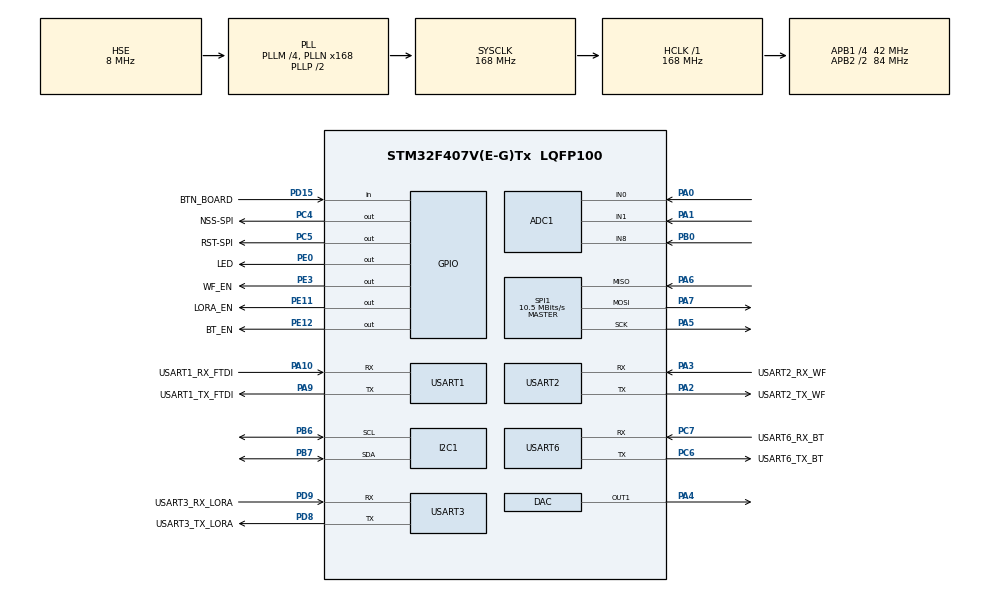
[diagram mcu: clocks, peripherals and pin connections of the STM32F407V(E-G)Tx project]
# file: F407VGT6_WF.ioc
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ADC1.Channel-0\#ChannelRegularConversion=ADC_CHANNEL_0
ADC1.NbrOfConversionFlag=1
ADC1.Rank-0\#ChannelRegularConversion=1
ADC1.SamplingTime-0\#ChannelRegularConversion=ADC_SAMPLETIME_3CYCLES
ADC1.master=1
Mcu.Family=STM32F4
Mcu.Name=STM32F407V(E-G)Tx
Mcu.Package=LQFP100
NVIC.PriorityGroup=NVIC_PRIORITYGROUP_4
NVIC.TIM2_IRQn=true\:0\:0\:false\:false\:true\:true\:true\:true
NVIC.USART1_IRQn=true\:0\:0\:false\:false\:true\:true\:true\:true
NVIC.USART2_IRQn=true\:0\:0\:false\:false\:true\:true\:true\:true
PA0-WKUP.Signal=ADCx_IN0
PA1.Signal=ADCx_IN1
PA10.GPIO_Label=USART1_RX_FTDI
PA10.Mode=Asynchronous
PA10.Signal=USART1_RX
PA13.Mode=Trace_Asynchronous_SW
PA13.Signal=SYS_JTMS-SWDIO
PA14.Mode=Trace_Asynchronous_SW
PA14.Signal=SYS_JTCK-SWCLK
PA2.GPIO_Label=USART2_TX_WF
PA2.Mode=Asynchronous
PA2.Signal=USART2_TX
PA3.GPIO_Label=USART2_RX_WF
PA3.Mode=Asynchronous
PA3.Signal=USART2_RX
PA4.Signal=COMP_DAC1_group
PA5.Mode=Full_Duplex_Master
PA5.Signal=SPI1_SCK
PA6.Mode=Full_Duplex_Master
PA6.Signal=SPI1_MISO
PA7.Mode=Full_Duplex_Master
PA7.Signal=SPI1_MOSI
PA9.GPIO_Label=USART1_TX_FTDI
PA9.Mode=Asynchronous
PA9.Signal=USART1_TX
PB0.Signal=ADCx_IN8
PB3.Mode=Trace_Asynchronous_SW
PB3.Signal=SYS_JTDO-SWO
PB6.Mode=I2C
PB6.Signal=I2C1_SCL
PB7.Mode=I2C
PB7.Signal=I2C1_SDA
PC4.GPIO_Label=NSS-SPI
PC4.Signal=GPIO_Output
PC5.GPIO_Label=RST-SPI
PC5.Signal=GPIO_Output
PC6.GPIO_Label=USART6_TX_BT
PC6.Mode=Asynchronous
PC6.Signal=USART6_TX
PC7.GPIO_Label=USART6_RX_BT
PC7.Mode=Asynchronous
PC7.Signal=USART6_RX
PD15.GPIO_Label=BTN_BOARD
PD15.Signal=GPIO_Input
PD8.GPIO_Label=USART3_TX_LORA
PD8.Mode=Asynchronous
PD8.Signal=USART3_TX
PD9.GPIO_Label=USART3_RX_LORA
PD9.Mode=Asynchronous
PD9.Signal=USART3_RX
PE0.GPIO_Label=LED
PE0.Signal=GPIO_Output
PE11.GPIO_Label=LORA_EN
PE11.Signal=GPIO_Output
PE12.GPIO_Label=BT_EN
PE12.Signal=GPIO_Output
PE3.GPIO_Label=WF_EN
PE3.Signal=GPIO_Output
PH0-OSC_IN.Mode=HSE-External-Oscillator
PH0-OSC_IN.Signal=RCC_OSC_IN
PH1-OSC_OUT.Mode=HSE-External-Oscillator
PH1-OSC_OUT.Signal=RCC_OSC_OUT
ProjectManager.HeapSize=0x200
ProjectManager.StackSize=0x400
ProjectManager.TargetToolchain=STM32CubeIDE
RCC.48MHZClocksFreq_Value=84000000
RCC.AHBFreq_Value=168000000
RCC.APB1CLKDivider=RCC_HCLK_DIV4
RCC.APB1Freq_Value=42000000
RCC.APB1TimFreq_Value=84000000
RCC.APB2CLKDivider=RCC_HCLK_DIV2
RCC.APB2Freq_Value=84000000
RCC.APB2TimFreq_Value=168000000
RCC.CortexFreq_Value=168000000
RCC.HCLKFreq_Value=168000000
RCC.HSE_VALUE=8000000
RCC.HSI_VALUE=16000000
RCC.LSE_VALUE=32768
RCC.PLLM=4
RCC.PLLN=168
RCC.PLLSourceVirtual=RCC_PLLSOURCE_HSE
RCC.SYSCLKFreq_VALUE=168000000
RCC.SYSCLKSource=RCC_SYSCLKSOURCE_PLLCLK
RCC.VCOOutputFreq_Value=336000000
RTC.Date=21
RTC.Hours=19
RTC.Minutes=40
RTC.Seconds=1
RTC.WeekDay=RTC_WEEKDAY_FRIDAY
RTC.Year=22
SH.ADCx_IN0.0=ADC1_IN0,IN0
SH.ADCx_IN1.0=ADC1_IN1,IN1
SH.ADCx_IN8.0=ADC1_IN8,IN8
SH.COMP_DAC1_group.0=DAC_OUT1,DAC_OUT1
SPI1.BaudRatePrescaler=SPI_BAUDRATEPRESCALER_8
SPI1.CalculateBaudRate=10.5 MBits/s
SPI1.Direction=SPI_DIRECTION_2LINES
SPI1.Mode=SPI_MODE_MASTER
SPI1.VirtualType=VM_MASTER
TIM2.AutoReloadPreload=TIM_AUTORELOAD_PRELOAD_ENABLE
TIM2.Channel-Output\ Compare1\ No\ Output=TIM_CHANNEL_1
TIM2.OCMode_1=TIM_OCMODE_INACTIVE
TIM2.Period=90
TIM2.Prescaler=84
TIM6.Period=12000-1
TIM6.Prescaler=16800-1
TIM6.TIM_MasterOutputTrigger=TIM_TRGO_UPDATE
USART1.VirtualMode=VM_ASYNC
USART2.VirtualMode=VM_ASYNC
USART3.VirtualMode=VM_ASYNC
USART6.VirtualMode=VM_ASYNC
VP_RTC_VS_RTC_Activate.Mode=RTC_Enabled
VP_RTC_VS_RTC_Calendar.Mode=RTC_Calendar
VP_TIM2_VS_ClockSourceINT.Mode=Internal
VP_TIM2_VS_OPM.Mode=OPM_bit
VP_TIM2_VS_no_output1.Mode=Output Compare1 No Output
VP_TIM6_VS_ClockSourceINT.Mode=Enable_Timer
board=custom

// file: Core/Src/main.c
/* USER CODE BEGIN Header */
/**
  ******************************************************************************
  * @file           : main.c
  * @brief          : Main program body
  ******************************************************************************
  * @attention
  *
  * Copyright (c) 2022 STMicroelectronics.
  * All rights reserved.
  *
  * This software is licensed under terms that can be found in the LICENSE file
  * in the root directory of this software component.
  * If no LICENSE file comes with this software, it is provided AS-IS.
  *
  ******************************************************************************
  */
/* USER CODE END Header */
//Test Git saraseser33
#include "main.h"

/* USER CODE BEGIN Includes */
#include "ESP8266_Chelo.h"
#include "ModBUS_Chelo.h"
#include "STR_Chelo.h"
#include "string.h"
#include "stdio.h"
/* USER CODE END Includes */

/* USER CODE BEGIN PD */
#define TOK 1
#define FIND 0
/* USER CODE END PD */

/* USER CODE BEGIN PM */
#define ITM_Port32(n)   (*((volatile unsigned long *)(0xE0000000+4*n)))
#define PIN_RESET_ON HAL_GPIO_WritePin(GPIOE, GPIO_PIN_3, GPIO_PIN_RESET);
#define PIN_RESET_OFF HAL_GPIO_WritePin(GPIOE, GPIO_PIN_3, GPIO_PIN_SET);
/* USER CODE END PM */

ADC_HandleTypeDef hadc1;

DAC_HandleTypeDef hdac;

I2C_HandleTypeDef hi2c1;

RTC_HandleTypeDef hrtc;

SPI_HandleTypeDef hspi1;

TIM_HandleTypeDef htim2;
TIM_HandleTypeDef htim6;

UART_HandleTypeDef huart1;
UART_HandleTypeDef huart2;
UART_HandleTypeDef huart3;
UART_HandleTypeDef huart6;

/* USER CODE BEGIN PV */
uint32_t ms_ticks=0,
		 min_ticks=0,
		 _flag1_ticks=0;
int		 pasos=0;
uint8_t _flag1=0;		//Flag test envio;

uint32_t ADC_VAL[4];
uint32_t DAC_VAL[2];
uint32_t DAC_VAL2[2];

struct WIFI wf;
struct MBUS mb;
struct MBUS_FIFO FIFO[5];

uint8_t ESP_REinit=0,			//Conteo de intentos de incializacion
		ESP_InitF=0,			//Flag de error por no encontrar la sentencia
		ESP_HW_Init=0,
		EN_UART2_TMR=0,
		EN_UART1_TMR=0,
		FLAG_TIMEOUT=0,
		FLAG_UART2=0,
		resultado=0,
		error_rxdata=0,
		ITM_AT_debug=1,//ITM_AT_debug=1,
		AT_PROC_ON=1, //=1 Proceso AT recibido =0 NO
		esp_restart=0,
		conexion,
		asc=0,
		//--------debug----//
		CP_ready=0,
		CP_ai=0;

char	UART_RX_vect[384],
		datarx_uart1[384],
		AT_debug[384],
		datarx1[2],
		UART_RX_vect_hld[384],
		UART_RX_vect[384],
		RXdata_uart1[384],
		RXdata_DEBUG[384],
		WIFI_NET[]="Fibertel WiFi967 2.4GHz",//WIFI_NET[]="PLC_DEV",//
		WIFI_PASS[]="0042880756",//WIFI_PASS[]="12345678",//
		TCP_SERVER[]="192.168.0.181",//TCP_SERVER[]="192.168.0.102",//TCP_SERVER[]="192.168.0.47",
		TCP_PORT[]="503",
		TCP_SERVER_LOCAL[]="192.168.0.33",//TCP_SERVER[]="192.168.0.47",
		TCP_SERVER_LOCAL_GWY[]="192.168.0.1",//TCP_SERVER[]="192.168.0.47",
		TCP_SERVER_LOCAL_MSK[]="255.255.255.0",//TCP_SERVER[]="192.168.0.47",
		TCP_PORT_LOCAL[]="502",
		RX2[]="RX.",
		RX[384],
		CMP_VECT[]="\0",
	    TESTA[32],
		TESTB[32],
		TESTC[32],
		UART_RX_byte[2];

int UART_RX_items=0,
    ESP_ticks=0,
	MBUS_ticks=0,
	items_rx_debug=0,
    ticks=0,
	ntesta=17,
	ntestb=4,
	ntestc=0,
	postesta=0,
	funcion=0,
	uart1pass=0,
	UART1_ticks=0,
	FLAG_UART1=0,
	chr_pos=0,
	items_rx=0,

	UART_RX_pos=0;

/* USER CODE END PV */

void SystemClock_Config(void);
static void MX_GPIO_Init(void);
static void MX_RTC_Init(void);
static void MX_TIM2_Init(void);
static void MX_USART1_UART_Init(void);
static void MX_USART2_UART_Init(void);
static void MX_TIM6_Init(void);
static void MX_ADC1_Init(void);
static void MX_DAC_Init(void);
static void MX_I2C1_Init(void);
static void MX_SPI1_Init(void);
static void MX_USART3_UART_Init(void);
static void MX_USART6_UART_Init(void);
/* USER CODE BEGIN PFP */
uint8_t ESP8266_HW_Init(UART_HandleTypeDef *);
void ESP8266_HW_Reset(void);

void BorrarVect(void);
/* USER CODE END PFP */

int main(void)
{
  /* USER CODE BEGIN 1 */
	  /* USER CODE BEGIN 1 */
		  //----------------------- WIFI ------------------------//
	 	  	Inicializar(&wf); 									//Borra todos los registros de la estructura
			strcpy(wf._WF_Net, WIFI_NET);						//Nombre de la red WIFI  a conectar Fibertel WiFi967 2.4GHz
			strcpy(wf._WF_Pass, WIFI_PASS);						//Password de la red WIFI
			strcpy(wf._TCP_Remote_Server_IP, TCP_SERVER);		//char _TCP_Remote_Server_IP[16];		//IP del Servidor TCP
			strcpy(wf._TCP_Remote_Server_Port, TCP_PORT);		//char _TCP_Remote_Server_Port[16];			//Puerto del Servidor TCP
			strcpy(wf._TCP_Local_Server_IP, TCP_SERVER_LOCAL);
			strcpy(wf._TCP_Local_Server_GWY, TCP_SERVER_LOCAL_GWY);
			strcpy(wf._TCP_Local_Server_MSK, TCP_SERVER_LOCAL_MSK);
			strcpy(wf._TCP_Local_Server_Port, TCP_PORT_LOCAL);
			wf._TCP_Local_Server_EN=0;							//Habilito el Servidor Local en = 1
			wf._data2SND[0]=0x00;//strcpy(wf._data2SND,"01;03;00;00;00;0A;C5;CD");//strcpy(wf._data2SND,"20;352;52#");
			wf._data2SND[1]=0x00;
			wf._data2SND[2]=0x00;
			wf._data2SND[3]=0x00;
			wf._data2SND[4]=0x00;
			wf._data2SND[5]=0x05;
			wf._data2SND[6]=0x01;
			wf._data2SND[7]=0x03;
			wf._data2SND[8]=0x02;//strcpy(wf._data2SND,"01;03;00;00;00;0A;C5;CD");//strcpy(wf._data2SND,"20;352;52#");
			wf._data2SND[9]=0x00;
			wf._data2SND[10]=0x00;
			wf._data2SND[11]=0x0A;
			wf._data2SND[12]=0x00;
			wf._data2SND[13]=0x33;
			wf._data2SND[14]=0x34;
			wf._data2SND[15]=0x35;
			wf._n_D2SND=11;
			wf._estado_conexion=CAMBIAR_MODO_EN_CURSO;	//wf._estado_conexion=1;					//Arranco en WiFi Desconectado
		 //----------------------- WIFI ------------------------//

		 //---------------------- ModBUS -----------------------//

			ModBUS_Config(&mb);
			ModBUS_F03_Assign(&mb,3,0xAA55);

		 //---------------------- ModBUS -----------------------//
  /* USER CODE END 1 */

  /* MCU Configuration--------------------------------------------------------*/

  /* Reset of all peripherals, Initializes the Flash interface and the Systick. */
  HAL_Init();

  /* Configure the system clock */
  SystemClock_Config();

  /* Initialize all configured peripherals */
  MX_GPIO_Init();
  MX_RTC_Init();
  MX_TIM2_Init();
  MX_USART1_UART_Init();
  MX_USART2_UART_Init();
  MX_TIM6_Init();
  MX_ADC1_Init();
  MX_DAC_Init();
  MX_I2C1_Init();
  MX_SPI1_Init();
  MX_USART3_UART_Init();
  MX_USART6_UART_Init();
  /* USER CODE BEGIN 2 */
  ESP8266_HW_Reset();		  //Reseteo el modulo desde el pin de RESET
  HAL_TIM_Base_Start(&htim6); //Timer como base de tiempo
  HAL_UART_Receive_IT(&huart1,(uint8_t *)UART_RX_byte,1); // DATO SERIAL
  HAL_UART_Receive_IT(&huart2,(uint8_t *)datarx1,1); //DATO MODULO WIFI
  //HAL_UART_Transmit(&huart1, "\r\n ESP Init . . \r\n",strlen("\r\n ESP Init . . \r\n"),1000);
  ITM0_Write(" ESP Init . . \r\n", strlen(" ESP Init . . \r\n"));
  if(ESP8266_HW_Init(&huart2)==1)
  {
	  ESP_HW_Init=1;
	  //HAL_UART_Transmit(&huart1, "\r\n ESP HW Init OK\r\n",strlen("\r\n ESP HW Init OK\r\n"),1000);
	  ITM0_Write("ESP HW Init OK\r", strlen(" ESP HW Init OK\r"));
  }
  else
  {
	  ESP8266_HW_Reset();
	  if(ESP8266_HW_Init(&huart2)==1)
	  {
		  ESP_HW_Init=1;
		  //HAL_UART_Transmit(&huart1, "\r\n ESP HW Init OK\r\n",strlen("\r\n ESP HW Init OK\r\n"),1000);
		  ITM0_Write("ESP HW Init OK\r", strlen(" ESP HW Init OK\r"));
	  }
	  else
	  {
		  ESP_HW_Init=0;
		  //HAL_UART_Transmit(&huart1, "\r\n ESP HW Init Fail\r\n",strlen("\r\n ESP HW Init Fail\r\n"),1000);
		  ITM0_Write("ESP HW Init Fail\r", strlen(" ESP HW Init Fail\r"));
	  }
  }

  HAL_Delay(1000);
  /* USER CODE END 2 */

  /* Infinite loop */
  /* USER CODE BEGIN WHILE */
  while (1)
  {
	 /*if (_flag1){
	  HAL_UART_Transmit(&huart1, "test", 4, 100);
	  _flag1=0;
	  }*/

    /* USER CODE END WHILE */

    /* USER CODE BEGIN 3 */
	 //----------------INSTRUCCIONS POR PUERTO SERIE---------------------
	 		if (FLAG_UART1==1)
	 		{
	 			if (AT_PROC_ON==0)
	 			{
	 				HAL_UART_Transmit_IT(&huart2, datarx_uart1, items_rx);
	 			}
	 			else
	 			{
	 				//----- COMANDOS RECIBIDOS POR PUERTO SERIAL 1
	 			 	wf._n_fcomp=strlen("ATDEBUG:");
	 			 	wf._n_orig=items_rx;
	 			 	if(FT_String_ND(datarx_uart1,&wf._n_orig,"ATDEBUG:",&wf._n_fcomp,wf._uartRCVD_tok,&wf._n_tok,&ntestc,&wf._id_conn,FIND)==1)
	 				{
	 				 	wf._n_fcomp=strlen("ATDEBUG:");
	 				 	wf._n_orig=items_rx;
	 				 	FT_String_ND(datarx_uart1,&wf._n_orig,"ATDEBUG:",&wf._n_fcomp,wf._uartRCVD_tok,&wf._n_tok,&ntestc,&wf._id_conn,TOK);
	 				 	HAL_UART_Transmit(&huart1, datarx_uart1,wf._n_orig,100);
	 				 	//HAL_UART_Transmit(&huart2, RXdata_uart1,wf._n_orig);
	 				 	HAL_UART_Receive_IT(&huart2,(uint8_t *)UART_RX_byte,1);
	 				 	datarx_uart1[0]='\0';
	 				 	datarx_uart1[2]='\0';
	 					BorrarVect();
	 				}
	 					else
	 					{
	 				if(FT_String(datarx_uart1,"RESTART_SM",wf._uartRCVD_tok,&chr_pos,FIND)==1)
	 				{
	 					HAL_UART_Receive_IT(&huart2,(uint8_t *)UART_RX_byte,1);
	 					datarx_uart1[0]='\0';
	 					BorrarVect();
	 				}
	 					else
	 					{
	 					if(FT_String(datarx_uart1,"CNWF",wf._uartRCVD_tok,&chr_pos,FIND)==1)
	 					{
	 						ConectarWIFI(&wf);
	 						wf._estado_conexion=3;	//Cambio el estado de la maquina de estados a WiFi Conectando
	 						datarx_uart1[0]='\0';
	 						BorrarVect();
	 					}
	 						else
	 						{
	 						if((FT_String(datarx_uart1,"CNDWF",wf._uartRCVD_tok,&chr_pos,FIND)==1)&&((wf._estado_conexion==209)||(wf._estado_conexion>=309)))
	 						{
	 							//HAL_UART_Transmit(&huart2,"AT+CWQAP\r\n",strlen("AT+CWQAP\r\n"), 100);
	 							DesconectarWIFI(&wf);
	 							//wf._estado=0;
	 							//wf._estado_conexion=1;	//Cambio el estado de la maquina de estados a WiFi Desconectado
	 							datarx_uart1[0]='\0';
	 							BorrarVect();
	 							AT_ESP8266_ND(&wf);//Debe procesar el pedido de desconexión
	 						}
	 							else
	 							{
	 								if((FT_String(datarx_uart1,"CNDWFPWR",wf._uartRCVD_tok,&chr_pos,FIND)==1)&&(conexion==4))
	 								{
	 								HAL_UART_Transmit(&huart1,"AT+CWQAP\r\n",strlen("AT+CWQAP\r\n"), 100);
	 								}
	 									else
	 									{

	 							if(FT_String(datarx_uart1,"CNTCP",wf._uartRCVD_tok,&chr_pos,FIND)==1)
	 							{
	 								ConectarTCP(&wf);
	 								wf._estado_conexion=7;	//Cambio el estado de la maquina de estados a Conectando TCP
	 								wf._estado=0;			//Borramos los estados de alarma

	 								datarx_uart1[0]='\0';
	 								BorrarVect();
	 							}
	 								else
	 								{
	 								if(FT_String(datarx_uart1,"CNDTCP",wf._uartRCVD_tok,&chr_pos,FIND)==1)
	 								{
	 									DesconectarTCP(&wf);
	 									wf._estado_conexion=5;	//Cambio el estado de la maquina de estados a Conectando TCP
	 									wf._estado=0;			//Borramos los estados de alarma
	 									datarx_uart1[0]='\0';
	 									BorrarVect();
	 								}
	 									else
	 									{
	 										if(FT_String(datarx_uart1,"DEBUG_SER_OFF",wf._uartRCVD_tok,&chr_pos,FIND)==1)
	 										{
	 											ITM_AT_debug=0;
	 										}
	 											else
	 											{
	 												if(FT_String(datarx_uart1,"ESP_RESTART",wf._uartRCVD_tok,&chr_pos,FIND)==1)
	 												{
	 												 esp_restart=1;
	 												}
	 													else
	 													{

	 									if(FT_String(datarx_uart1,"WIFINET:",wf._uartRCVD_tok,&chr_pos,FIND)==1) //Detecto que me mandan la red
	 									{
	 										/*FT_String(datarx_uart1,"WIFINET:",wf._uartRCVD_tok,&chr_pos,TOK);
	 										strcpy(wf._WF_Net,datarx_uart1);

	 										I2C_E2PROM( &hi2c1, iic._addr_WF_Net, 2, wf._WF_Net, strlen(wf._WF_Net), iic._send, WRITE);
	 										HAL_Delay(1);
	 										I2C_E2PROM( &hi2c1, iic._addr_WF_Net, 2, iic._WF_Net, 32, iic._receive, READ);
	 										HAL_Delay(1);

	 										datarx_uart1[0]='\0';*/
	 									}
	 										else
	 										{
	 										if(FT_String(datarx_uart1,"WIFIPASS:",wf._uartRCVD_tok,&chr_pos,FIND)==1) //Detecto que me mandan la red
	 										{
	 											/*FT_String(datarx_uart1,"WIFIPASS:",wf._uartRCVD_tok,&chr_pos,TOK);
	 											strcpy(wf._WF_Pass,datarx_uart1);

	 											I2C_E2PROM( &hi2c1, iic._addr_WF_Net_WF_Pass, 2, wf._WF_Pass, strlen(wf._WF_Pass), iic._send, WRITE);
	 											HAL_Delay(1);
	 											I2C_E2PROM( &hi2c1, iic._addr_WF_Net_WF_Pass, 2, iic._WF_Pass, 11, iic._receive, READ);
	 											HAL_Delay(1);
	 											datarx_uart1[0]='\0';*/
	 										}
	 											else
	 											{
	 											if(FT_String(datarx_uart1,"TCP:",wf._uartRCVD_tok,&chr_pos,FIND)==1) //Detecto que me mandan la red
	 											{
	 												/*FT_String(datarx_uart1,"TCP:",wf._uartRCVD_tok,&chr_pos,TOK);
	 												strcpy(wf._TCP_Remote_Server_IP,datarx_uart1);

	 												I2C_E2PROM( &hi2c1, iic._addr_tcp, 2, wf._TCP_Remote_Server_IP, strlen(wf._TCP_Remote_Server_IP), iic._send, WRITE);
	 												HAL_Delay(1);
	 												I2C_E2PROM( &hi2c1, iic._addr_tcp, 2, iic._TCP_Remote_Server_IP, 16, iic._receive, READ);
	 												HAL_Delay(1);
	 												datarx_uart1[0]='\0';*/
	 											}
	 												else
	 												{
	 												if(FT_String(datarx_uart1,"TCP_PORT:",wf._uartRCVD_tok,&chr_pos,FIND)==1) //Detecto que me mandan la red
	 												{
	 													/*FT_String(datarx_uart1,"TCP_PORT:",wf._uartRCVD_tok,&chr_pos,TOK);
	 													strcpy(wf._TCP_Remote_Server_Port,datarx_uart1);

	 													I2C_E2PROM( &hi2c1, iic._addr_tcp_port, 2, wf._TCP_Remote_Server_Port, strlen(wf._TCP_Remote_Server_Port), iic._send, WRITE);
	 													HAL_Delay(1);
	 													I2C_E2PROM( &hi2c1, iic._addr_tcp_port, 2, iic._TCP_Remote_Server_Port, 5, iic._receive, READ);
	 													HAL_Delay(1);
	 													I2C_E2PROM( &hi2c1, iic._addr_WF_Net, 2, iic._TCP_Remote_Server_Port,41, iic._receive, READ);
	 													HAL_Delay(1);
	 													I2C_E2PROM( &hi2c1, iic._addr_tcp, 2, iic._TCP_Remote_Server_Port,32, iic._receive, READ);
	 													HAL_Delay(1);
	 													datarx_uart1[0]='\0';*/
	 												}
	 													else
	 													{
	 													if(FT_String(datarx_uart1,"WIFIRDNET:",wf._uartRCVD_tok,&chr_pos,FIND)==1) //Detecto que me mandan la red
	 													{
	 														//Leo el valor de la red
	 														/*I2C_E2PROM( &hi2c1, iic._addr_WF_Net, 2, iic._WF_Net, 32, iic._receive, READ);
	 														HAL_Delay(1);
	 														strncat(iic._serial,";WIFIRDNET;",strlen(";WIFIRDNET;"));
	 														strncat(iic._serial,iic._receive,strlen(iic._receive));
	 														strncat(iic._serial,";",1);
	 														datarx_uart1[0]='\0';
	 														HAL_UART_Transmit_IT(&huart1,(uint8_t*)iic._serial, strlen(iic._serial));
	 														iic._serial[0]='\0';*/
	 													}
	 														else
	 														{
	 														if(FT_String(datarx_uart1,"WIFIRDPASS:",wf._uartRCVD_tok,&chr_pos,FIND)==1) //Detecto que me mandan la red
	 														{
	 															//Leo el valor de la red
	 															/*I2C_E2PROM( &hi2c1, iic._addr_WF_Net_WF_Pass, 2, iic._WF_Net, 11, iic._receive, READ);
	 															HAL_Delay(1);
	 															strncat(iic._serial,";WIFIRDPASS;",strlen(";WIFIRDPASS;"));
	 															strncat(iic._serial,iic._receive,strlen(iic._receive));
	 															strncat(iic._serial,";",1);
	 															datarx_uart1[0]='\0';
	 															HAL_UART_Transmit_IT(&huart1,(uint8_t*)iic._serial, strlen(iic._serial));
	 															iic._serial[0]='\0';*/
	 														}
	 															else
	 															{
	 															if(FT_String(datarx_uart1,"TCPRD:",wf._uartRCVD_tok,&chr_pos,FIND)==1) //Detecto que me mandan la red
	 															{
	 																//Leo el valor de la red
	 																/*I2C_E2PROM( &hi2c1, iic._addr_tcp, 2, iic._WF_Net, 16, iic._receive, READ);
	 																HAL_Delay(1);
	 																strncat(iic._serial,";TCPRD;",strlen(";TCPRD;"));
	 																strncat(iic._serial,iic._receive,strlen(iic._receive));
	 																strncat(iic._serial,";",1);
	 																datarx_uart1[0]='\0';
	 																HAL_UART_Transmit_IT(&huart1,(uint8_t*)iic._serial, strlen(iic._serial));
	 																iic._serial[0]='\0';*/
	 															}
	 																else
	 																{
	 															if(FT_String(datarx_uart1,"TCPRDPORT:",wf._uartRCVD_tok,&chr_pos,FIND)==1) //Detecto que me mandan la red
	 															{
	 																//Leo el valor de la red
	 																/*I2C_E2PROM( &hi2c1, iic._addr_tcp_port, 2, iic._WF_Net, 5, iic._receive, READ);
	 																HAL_Delay(1);
	 																strncat(iic._serial,";TCPRDPORT;",strlen(";TCPRDPORT;"));
	 																strncat(iic._serial,iic._receive,strlen(iic._receive));
	 																strncat(iic._serial,";",1);
	 																datarx_uart1[0]='\0';
	 																HAL_UART_Transmit_IT(&huart1,(uint8_t*)iic._serial, strlen(iic._serial));
	 																iic._serial[0]='\0';*/
	 															}
	 															 else
	 																{
	 																if(FT_String(datarx_uart1,"ENDSND:",wf._uartRCVD_tok,&chr_pos,FIND)==1) //Detecto que me mandan la red
	 																{
	 																	//Deshabilita el envío de data recibida por el ESP8266 al puerto 1
	 																	//densnd=1;
	 																}
	 																 else
	 																	{
	 																	if(FT_String(datarx_uart1,"ENSND:",wf._uartRCVD_tok,&chr_pos,FIND)==1) //Detecto que me mandan la red
	 																	{
	 																		//Deshabilita el envío de data recibida por el ESP8266 al puerto 1
	 																		//densnd=0;
	 																	}

	 					}}}}}}}}}}}}}}}}}}}

	 				FLAG_UART1=0;
	 		}
	 //----------------INSTRUCCIONES POR PUERTO SERIE---------------------

	 		//HAL_Delay(500);
	 		//ITM_Port32(31) = 1;9
	 		//ITM0_Write("TESTeEE\r\n", strlen("TESTeEE\r\n"));
	 		//
	 		//_write(2);
	 		//printf("test \r\n");
	 		/*HAL_Delay(200);
	 		HAL_Delay(200);
	 		HAL_Delay(200);
	 		printf("PASO POR MAIN\r");
	 		pasos++;*/

	 		if ((FLAG_UART2==1)||(FLAG_TIMEOUT==1))  //Si recibí datos o me fui por TimeOUT
	 		{

	 			if(FLAG_UART2==1)
	 				{
	 					FLAG_UART2=0;

	 					if (error_rxdata==3)
	 					{
	 						error_rxdata=0;
	 					}
	 					if (error_rxdata==1)
	 					{
	 						error_rxdata=5;
	 						error_rxdata=0;
	 					}
	 				}

	 			if(FLAG_TIMEOUT==1)
	 				{
	 					FLAG_TIMEOUT=0;
	 					//strcpy(wf._uartRCVD, UART_RX_vect_hld);
	 				}

	 			if ((ESP_HW_Init==1)&&(AT_PROC_ON)) //Si el módulo se inició correctamente
	 			{
 				  	//--------------------------------------------------------------------------------------------------------------//
	 				//	Decodifco la info recibida por el puerto serie, separo lo +IPD en el caso que vengan concatenados en el 	//
	 				//	de datos recibidos, y se continua con la maquina de estados.												//
	 				//	Aquí no se envìa la info, se da la orden y se arma el string de acuerdo a la instruccion					//
 					//--------------------------------------------------------------------------------------------------------------//
	 				wf._n_orig=UART_RX_items;
	 				CopiaVector(wf._uartRCVD,UART_RX_vect_hld,UART_RX_items,1,CMP_VECT);
	 				resultado=AT_ESP8266_ND(&wf); // Lo proceso despues de haberlo recibido por uart no de toque.

 				  	//--------------------------------------------------------------------------------------------------------------//
// NO VA ACA		//	Se gestiona el ordenameint de la pila y la prioridad de los mensajes a responder							//
 					//--------------------------------------------------------------------------------------------------------------//
	 				//
	 				//	Solo se maneja el FIFO si se recibieron nuevos datos, no cada vez que se recibe un dato por puerto serie, pues
	 				//	mientras está recibiendo el FIFO debe indicar el proximo dato a enviar, o bien ir manejando el timeout de los
	 				//	datos que a los que no se les ha dado respuesta aún.
	 				//
	 				//	Con un dato nuevo se le asigna nueva ubicacion
	 				//  Las ubicaciones anuladas poseen 255 en FIFO[X].Conexion y no se les computa timeout, al resto si
	 				//	Una variable externa debe estar apuntando siempre al proximo dato a procesar, caundo se recibe uno nuevo se
	 				//	agrega sin alterar el estado de esa variable
	 				//  Un registro se anula cuando se verfica su respuesta o se excede el timeout
	 				//	Si se recibe una variable nueva y el regitro está lleno, la misma no se procesa y se desecha
	 				//
	 				if ((wf._new_data_rcv==1)&&(wf._estado_data==4)) // Si recibí nueva data y está ok
	 				{
	 					FIFO[0].IDRX=1;
	 					FIFO[0].Conexion=wf._id_conn;
	 					CopiaVector(FIFO[0].MODBUS_DATA,wf._dataRCV,wf._n_dataRCV,0,'A');
	 					FIFO[0]._n_MODBUS_DATA=wf._n_dataRCV;
	 					FIFO[0].timeout=234;

	 					if(ModBUS_Check(FIFO[0].MODBUS_DATA,FIFO[0]._n_MODBUS_DATA)) wf._send_data=1;
	 				}

 				  	//--------------------------------------------------------------------------------------------------------------//
// NO VA ACA		//	Se genera la respuesa MosBUS de acuerdo a la función recibida												//
 					//--------------------------------------------------------------------------------------------------------------//

	 				if (wf._send_data==1)// Si recibí nueva data
	 				{
	 				  	//-------------------------------------------------------//
	 					//				Genero informacion ModBUS				 //
	 					//-------------------------------------------------------//

	 					CopiaVector(mb._MBUS_RCVD,wf._dataRCV,wf._n_dataRCV,0,'A');
	 				  	mb._n_MBUS_RCVD=wf._n_dataRCV;
	 				  	//CopiaVector(mb._MBUS_RCVD,wf._dataRCV,5,0,'A');  //Solo copio la info si es correcta
	 				  	//-------- Proceso el ModBUS ----------------------------//
	 				  	ModBUS(&mb);
	 				 	//--------Copio vector ModBUS a data a enviar------------//
	 				  	CopiaVector(wf._data2SND,mb._MBUS_2SND,mb._n_MBUS_2SND,0,'A');
	 				 	wf._n_D2SND=mb._n_MBUS_2SND;
	 					//-------------------------------------------------------//
	 				}
	 			}
	 		}

	 		if ((ESP_HW_Init==1)&&(AT_PROC_ON)) //Si el módulo se inició correctamente
	 		{
			//--------------------------------------------------------------------------------------------------------------//
 			//	Se maneja la maquina de estados, se realiza el envío de informacion											//
			//--------------------------------------------------------------------------------------------------------------//

	 			conexion=WiFi_Conn_ND(&wf,&huart2,0);	//Tiene que ir en el main el chequeo es constante
	 		}
	 		if (esp_restart==1)
	 		{
	 			/*HAL_GPIO_WritePin(GPIOE, GPIO_PIN_3, GPIO_PIN_RESET);
	 			HAL_Delay(2000);//210419
	 			HAL_GPIO_WritePin(GPIOE, GPIO_PIN_3, GPIO_PIN_SET);
	 			HAL_Delay(5000);//210419
	 			esp_restart=0;*/
	 		}

	   }
  /* USER CODE END 3 */
}

void SystemClock_Config(void)
{
  RCC_OscInitTypeDef RCC_OscInitStruct = {0};
  RCC_ClkInitTypeDef RCC_ClkInitStruct = {0};

  /** Configure the main internal regulator output voltage
  */
  __HAL_RCC_PWR_CLK_ENABLE();
  __HAL_PWR_VOLTAGESCALING_CONFIG(PWR_REGULATOR_VOLTAGE_SCALE1);

  /** Initializes the RCC Oscillators according to the specified parameters
  * in the RCC_OscInitTypeDef structure.
  */
  RCC_OscInitStruct.OscillatorType = RCC_OSCILLATORTYPE_LSI|RCC_OSCILLATORTYPE_HSE;
  RCC_OscInitStruct.HSEState = RCC_HSE_ON;
  RCC_OscInitStruct.LSIState = RCC_LSI_ON;
  RCC_OscInitStruct.PLL.PLLState = RCC_PLL_ON;
  RCC_OscInitStruct.PLL.PLLSource = RCC_PLLSOURCE_HSE;
  RCC_OscInitStruct.PLL.PLLM = 4;
  RCC_OscInitStruct.PLL.PLLN = 168;
  RCC_OscInitStruct.PLL.PLLP = RCC_PLLP_DIV2;
  RCC_OscInitStruct.PLL.PLLQ = 4;
  if (HAL_RCC_OscConfig(&RCC_OscInitStruct) != HAL_OK)
  {
    Error_Handler();
  }

  /** Initializes the CPU, AHB and APB buses clocks
  */
  RCC_ClkInitStruct.ClockType = RCC_CLOCKTYPE_HCLK|RCC_CLOCKTYPE_SYSCLK
                              |RCC_CLOCKTYPE_PCLK1|RCC_CLOCKTYPE_PCLK2;
  RCC_ClkInitStruct.SYSCLKSource = RCC_SYSCLKSOURCE_PLLCLK;
  RCC_ClkInitStruct.AHBCLKDivider = RCC_SYSCLK_DIV1;
  RCC_ClkInitStruct.APB1CLKDivider = RCC_HCLK_DIV4;
  RCC_ClkInitStruct.APB2CLKDivider = RCC_HCLK_DIV2;

  if (HAL_RCC_ClockConfig(&RCC_ClkInitStruct, FLASH_LATENCY_5) != HAL_OK)
  {
    Error_Handler();
  }
}

static void MX_ADC1_Init(void)
{

  ADC_ChannelConfTypeDef sConfig = {0};

  /** Configure the global features of the ADC (Clock, Resolution, Data Alignment and number of conversion)
  */
  hadc1.Instance = ADC1;
  hadc1.Init.ClockPrescaler = ADC_CLOCK_SYNC_PCLK_DIV4;
  hadc1.Init.Resolution = ADC_RESOLUTION_12B;
  hadc1.Init.ScanConvMode = DISABLE;
  hadc1.Init.ContinuousConvMode = DISABLE;
  hadc1.Init.DiscontinuousConvMode = DISABLE;
  hadc1.Init.ExternalTrigConvEdge = ADC_EXTERNALTRIGCONVEDGE_NONE;
  hadc1.Init.ExternalTrigConv = ADC_SOFTWARE_START;
  hadc1.Init.DataAlign = ADC_DATAALIGN_RIGHT;
  hadc1.Init.NbrOfConversion = 1;
  hadc1.Init.DMAContinuousRequests = DISABLE;
  hadc1.Init.EOCSelection = ADC_EOC_SINGLE_CONV;
  if (HAL_ADC_Init(&hadc1) != HAL_OK)
  {
    Error_Handler();
  }

  /** Configure for the selected ADC regular channel its corresponding rank in the sequencer and its sample time.
  */
  sConfig.Channel = ADC_CHANNEL_0;
  sConfig.Rank = 1;
  sConfig.SamplingTime = ADC_SAMPLETIME_3CYCLES;
  if (HAL_ADC_ConfigChannel(&hadc1, &sConfig) != HAL_OK)
  {
    Error_Handler();
  }

}

static void MX_DAC_Init(void)
{

  DAC_ChannelConfTypeDef sConfig = {0};

  /** DAC Initialization
  */
  hdac.Instance = DAC;
  if (HAL_DAC_Init(&hdac) != HAL_OK)
  {
    Error_Handler();
  }

  /** DAC channel OUT1 config
  */
  sConfig.DAC_Trigger = DAC_TRIGGER_NONE;
  sConfig.DAC_OutputBuffer = DAC_OUTPUTBUFFER_ENABLE;
  if (HAL_DAC_ConfigChannel(&hdac, &sConfig, DAC_CHANNEL_1) != HAL_OK)
  {
    Error_Handler();
  }

}

static void MX_I2C1_Init(void)
{

  hi2c1.Instance = I2C1;
  hi2c1.Init.ClockSpeed = 100000;
  hi2c1.Init.DutyCycle = I2C_DUTYCYCLE_2;
  hi2c1.Init.OwnAddress1 = 0;
  hi2c1.Init.AddressingMode = I2C_ADDRESSINGMODE_7BIT;
  hi2c1.Init.DualAddressMode = I2C_DUALADDRESS_DISABLE;
  hi2c1.Init.OwnAddress2 = 0;
  hi2c1.Init.GeneralCallMode = I2C_GENERALCALL_DISABLE;
  hi2c1.Init.NoStretchMode = I2C_NOSTRETCH_DISABLE;
  if (HAL_I2C_Init(&hi2c1) != HAL_OK)
  {
    Error_Handler();
  }

}

static void MX_RTC_Init(void)
{

  RTC_TimeTypeDef sTime = {0};
  RTC_DateTypeDef sDate = {0};

  /** Initialize RTC Only
  */
  hrtc.Instance = RTC;
  hrtc.Init.HourFormat = RTC_HOURFORMAT_24;
  hrtc.Init.AsynchPrediv = 127;
  hrtc.Init.SynchPrediv = 255;
  hrtc.Init.OutPut = RTC_OUTPUT_DISABLE;
  hrtc.Init.OutPutPolarity = RTC_OUTPUT_POLARITY_HIGH;
  hrtc.Init.OutPutType = RTC_OUTPUT_TYPE_OPENDRAIN;
  if (HAL_RTC_Init(&hrtc) != HAL_OK)
  {
    Error_Handler();
  }

  /** Initialize RTC and set the Time and Date
  */
  sTime.Hours = 0x19;
  sTime.Minutes = 0x40;
  sTime.Seconds = 0x1;
  sTime.DayLightSaving = RTC_DAYLIGHTSAVING_NONE;
  sTime.StoreOperation = RTC_STOREOPERATION_RESET;
  if (HAL_RTC_SetTime(&hrtc, &sTime, RTC_FORMAT_BCD) != HAL_OK)
  {
    Error_Handler();
  }
  sDate.WeekDay = RTC_WEEKDAY_FRIDAY;
  sDate.Month = RTC_MONTH_JANUARY;
  sDate.Date = 0x21;
  sDate.Year = 0x22;

  if (HAL_RTC_SetDate(&hrtc, &sDate, RTC_FORMAT_BCD) != HAL_OK)
  {
    Error_Handler();
  }

}

static void MX_SPI1_Init(void)
{

  /* SPI1 parameter configuration*/
  hspi1.Instance = SPI1;
  hspi1.Init.Mode = SPI_MODE_MASTER;
  hspi1.Init.Direction = SPI_DIRECTION_2LINES;
  hspi1.Init.DataSize = SPI_DATASIZE_8BIT;
  hspi1.Init.CLKPolarity = SPI_POLARITY_LOW;
  hspi1.Init.CLKPhase = SPI_PHASE_1EDGE;
  hspi1.Init.NSS = SPI_NSS_SOFT;
  hspi1.Init.BaudRatePrescaler = SPI_BAUDRATEPRESCALER_8;
  hspi1.Init.FirstBit = SPI_FIRSTBIT_MSB;
  hspi1.Init.TIMode = SPI_TIMODE_DISABLE;
  hspi1.Init.CRCCalculation = SPI_CRCCALCULATION_DISABLE;
  hspi1.Init.CRCPolynomial = 10;
  if (HAL_SPI_Init(&hspi1) != HAL_OK)
  {
    Error_Handler();
  }

}

static void MX_TIM2_Init(void)
{

  TIM_ClockConfigTypeDef sClockSourceConfig = {0};
  TIM_MasterConfigTypeDef sMasterConfig = {0};
  TIM_OC_InitTypeDef sConfigOC = {0};

  htim2.Instance = TIM2;
  htim2.Init.Prescaler = 84;
  htim2.Init.CounterMode = TIM_COUNTERMODE_UP;
  htim2.Init.Period = 90;
  htim2.Init.ClockDivision = TIM_CLOCKDIVISION_DIV1;
  htim2.Init.AutoReloadPreload = TIM_AUTORELOAD_PRELOAD_ENABLE;
  if (HAL_TIM_Base_Init(&htim2) != HAL_OK)
  {
    Error_Handler();
  }
  sClockSourceConfig.ClockSource = TIM_CLOCKSOURCE_INTERNAL;
  if (HAL_TIM_ConfigClockSource(&htim2, &sClockSourceConfig) != HAL_OK)
  {
    Error_Handler();
  }
  if (HAL_TIM_OC_Init(&htim2) != HAL_OK)
  {
    Error_Handler();
  }
  if (HAL_TIM_OnePulse_Init(&htim2, TIM_OPMODE_SINGLE) != HAL_OK)
  {
    Error_Handler();
  }
  sMasterConfig.MasterOutputTrigger = TIM_TRGO_RESET;
  sMasterConfig.MasterSlaveMode = TIM_MASTERSLAVEMODE_DISABLE;
  if (HAL_TIMEx_MasterConfigSynchronization(&htim2, &sMasterConfig) != HAL_OK)
  {
    Error_Handler();
  }
  sConfigOC.OCMode = TIM_OCMODE_INACTIVE;
  sConfigOC.Pulse = 0;
  sConfigOC.OCPolarity = TIM_OCPOLARITY_HIGH;
  sConfigOC.OCFastMode = TIM_OCFAST_DISABLE;
  if (HAL_TIM_OC_ConfigChannel(&htim2, &sConfigOC, TIM_CHANNEL_1) != HAL_OK)
  {
    Error_Handler();
  }

}

static void MX_TIM6_Init(void)
{

  TIM_MasterConfigTypeDef sMasterConfig = {0};

  htim6.Instance = TIM6;
  htim6.Init.Prescaler = 16800-1;
  htim6.Init.CounterMode = TIM_COUNTERMODE_UP;
  htim6.Init.Period = 12000-1;
  htim6.Init.AutoReloadPreload = TIM_AUTORELOAD_PRELOAD_DISABLE;
  if (HAL_TIM_Base_Init(&htim6) != HAL_OK)
  {
    Error_Handler();
  }
  sMasterConfig.MasterOutputTrigger = TIM_TRGO_UPDATE;
  sMasterConfig.MasterSlaveMode = TIM_MASTERSLAVEMODE_DISABLE;
  if (HAL_TIMEx_MasterConfigSynchronization(&htim6, &sMasterConfig) != HAL_OK)
  {
    Error_Handler();
  }

}

static void MX_USART1_UART_Init(void)
{

  huart1.Instance = USART1;
  huart1.Init.BaudRate = 115200;
  huart1.Init.WordLength = UART_WORDLENGTH_8B;
  huart1.Init.StopBits = UART_STOPBITS_1;
  huart1.Init.Parity = UART_PARITY_NONE;
  huart1.Init.Mode = UART_MODE_TX_RX;
  huart1.Init.HwFlowCtl = UART_HWCONTROL_NONE;
  huart1.Init.OverSampling = UART_OVERSAMPLING_16;
  if (HAL_UART_Init(&huart1) != HAL_OK)
  {
    Error_Handler();
  }

}

static void MX_USART2_UART_Init(void)
{

  huart2.Instance = USART2;
  huart2.Init.BaudRate = 115200;
  huart2.Init.WordLength = UART_WORDLENGTH_8B;
  huart2.Init.StopBits = UART_STOPBITS_1;
  huart2.Init.Parity = UART_PARITY_NONE;
  huart2.Init.Mode = UART_MODE_TX_RX;
  huart2.Init.HwFlowCtl = UART_HWCONTROL_NONE;
  huart2.Init.OverSampling = UART_OVERSAMPLING_16;
  if (HAL_UART_Init(&huart2) != HAL_OK)
  {
    Error_Handler();
  }

}

static void MX_USART3_UART_Init(void)
{

  huart3.Instance = USART3;
  huart3.Init.BaudRate = 115200;
  huart3.Init.WordLength = UART_WORDLENGTH_8B;
  huart3.Init.StopBits = UART_STOPBITS_1;
  huart3.Init.Parity = UART_PARITY_NONE;
  huart3.Init.Mode = UART_MODE_TX_RX;
  huart3.Init.HwFlowCtl = UART_HWCONTROL_NONE;
  huart3.Init.OverSampling = UART_OVERSAMPLING_16;
  if (HAL_UART_Init(&huart3) != HAL_OK)
  {
    Error_Handler();
  }

}

static void MX_USART6_UART_Init(void)
{

  huart6.Instance = USART6;
  huart6.Init.BaudRate = 115200;
  huart6.Init.WordLength = UART_WORDLENGTH_8B;
  huart6.Init.StopBits = UART_STOPBITS_1;
  huart6.Init.Parity = UART_PARITY_NONE;
  huart6.Init.Mode = UART_MODE_TX_RX;
  huart6.Init.HwFlowCtl = UART_HWCONTROL_NONE;
  huart6.Init.OverSampling = UART_OVERSAMPLING_16;
  if (HAL_UART_Init(&huart6) != HAL_OK)
  {
    Error_Handler();
  }

}

static void MX_GPIO_Init(void)
{
  GPIO_InitTypeDef GPIO_InitStruct = {0};

  /* GPIO Ports Clock Enable */
  __HAL_RCC_GPIOE_CLK_ENABLE();
  __HAL_RCC_GPIOH_CLK_ENABLE();
  __HAL_RCC_GPIOA_CLK_ENABLE();
  __HAL_RCC_GPIOC_CLK_ENABLE();
  __HAL_RCC_GPIOB_CLK_ENABLE();
  __HAL_RCC_GPIOD_CLK_ENABLE();

  /*Configure GPIO pin Output Level */
  HAL_GPIO_WritePin(GPIOE, WF_EN_Pin|LORA_EN_Pin|BT_EN_Pin|LED_Pin, GPIO_PIN_RESET);

  /*Configure GPIO pin Output Level */
  HAL_GPIO_WritePin(GPIOC, NSS_SPI_Pin|RST_SPI_Pin, GPIO_PIN_RESET);

  /*Configure GPIO pins : WF_EN_Pin LORA_EN_Pin BT_EN_Pin LED_Pin */
  GPIO_InitStruct.Pin = WF_EN_Pin|LORA_EN_Pin|BT_EN_Pin|LED_Pin;
  GPIO_InitStruct.Mode = GPIO_MODE_OUTPUT_PP;
  GPIO_InitStruct.Pull = GPIO_NOPULL;
  GPIO_InitStruct.Speed = GPIO_SPEED_FREQ_LOW;
  HAL_GPIO_Init(GPIOE, &GPIO_InitStruct);

  /*Configure GPIO pins : NSS_SPI_Pin RST_SPI_Pin */
  GPIO_InitStruct.Pin = NSS_SPI_Pin|RST_SPI_Pin;
  GPIO_InitStruct.Mode = GPIO_MODE_OUTPUT_PP;
  GPIO_InitStruct.Pull = GPIO_NOPULL;
  GPIO_InitStruct.Speed = GPIO_SPEED_FREQ_LOW;
  HAL_GPIO_Init(GPIOC, &GPIO_InitStruct);

  /*Configure GPIO pin : BTN_BOARD_Pin */
  GPIO_InitStruct.Pin = BTN_BOARD_Pin;
  GPIO_InitStruct.Mode = GPIO_MODE_INPUT;
  GPIO_InitStruct.Pull = GPIO_NOPULL;
  HAL_GPIO_Init(BTN_BOARD_GPIO_Port, &GPIO_InitStruct);

}

/* USER CODE BEGIN 4 */
void SysTick_Handler(void)
{
  /* USER CODE BEGIN SysTick_IRQn 0 */
	  if (_flag1_ticks>=500){
			 if(HAL_GPIO_ReadPin(GPIOD, GPIO_PIN_15)){
				 HAL_GPIO_TogglePin(GPIOE, GPIO_PIN_0);
			 }
	  _flag1=1;
	  _flag1_ticks=0;
	  }
	  _flag1_ticks++;
		ms_ticks++;
	if (ESP_HW_Init==0){ESP_ticks++;}

	if (ms_ticks==500)//(ms_ticks==250)//(ms_ticks==50)
	  {

		  ms_ticks=0;
		  min_ticks++;

		  	if(MBUS_ticks==360) MBUS_ticks=0;

		  	if (asc==0)  MBUS_ticks++;
		  	if (MBUS_ticks==100) asc=1;
		  	if (asc==1) MBUS_ticks--;
		  	if (MBUS_ticks==0) asc=0;

			ModBUS_F03_Assign(&mb,5,MBUS_ticks);
			ModBUS_F03_Assign(&mb,6,MBUS_ticks+10);
			ModBUS_F03_Assign(&mb,7,MBUS_ticks+20);
			ModBUS_F03_Assign(&mb,8,MBUS_ticks+30);
			ModBUS_F03_Assign(&mb,9,MBUS_ticks+40);
			ModBUS_F03_Assign(&mb,10,MBUS_ticks+50);
			ModBUS_F03_Assign(&mb,11,MBUS_ticks+60);

			ModBUS_F04_Assign(&mb,5,MBUS_ticks);
			ModBUS_F04_Assign(&mb,6,MBUS_ticks+1);
			ModBUS_F04_Assign(&mb,7,MBUS_ticks+2);
			ModBUS_F04_Assign(&mb,8,MBUS_ticks+3);
			ModBUS_F04_Assign(&mb,9,MBUS_ticks+4);
			ModBUS_F04_Assign(&mb,10,MBUS_ticks+5);
			ModBUS_F04_Assign(&mb,11,MBUS_ticks+6);

		  DAC_VAL[0]+=128;
		  DAC_VAL2[0]+=256;
		  if(DAC_VAL[0]==4096) DAC_VAL[0]=0;
		  if(DAC_VAL2[0]==4096) DAC_VAL2[0]=0;
		  //HAL_GPIO_TogglePin(GPIOB, GPIO_PIN_11);
		  //------------ DAC MODO BLOQUEANTE --------------------//
		  //HAL_DAC_SetValue(&hdac,DAC_CHANNEL_1,DAC_ALIGN_12B_R,DAC_VAL[0]);
		  //HAL_DAC_SetValue(&hdac,DAC_CHANNEL_2,DAC_ALIGN_12B_R,DAC_VAL2[0]);
		  //------------ DAC MODO BLOQUEANTE --------------------//
		  HAL_GPIO_TogglePin(GPIOB, GPIO_PIN_11);
		  if(min_ticks==2)//if(min_ticks==10)
			  {
			  	  min_ticks=0;
			  	  /*
			  	  CopiaVector(mb._MBUS_RCVD,wf._dataRCV,wf._n_dataRCV,0,'A');
			  	  mb._n_MBUS_RCVD=wf._n_dataRCV;
			  	  CopiaVector(mb._MBUS_RCVD,wf._dataRCV,5,0,'A');  //Solo copio la info si es correcta
			  	  ModBUS(&mb);
			 	  CopiaVector(wf._data2SND,mb._MBUS_2SND,mb._n_MBUS_2SND,0,'A');
			 	  wf._n_D2SND=mb._n_MBUS_2SND;*/

			  	/*  if (conexion>=4)
			  	  {
			  	  wf._estado_conexion=3;
			  	  EnviarDatos(&wf);
			  	 //HAL_GPIO_TogglePin(GPIOB, GPIO_PIN_11);

			  	  }*/
			  }
	  }

		if(EN_UART1_TMR==1) UART1_ticks++;

		if(UART1_ticks>=2)//if(UART1_ticks>=10)
		{
			UART1_ticks=0;
			FLAG_UART1=1;
			EN_UART1_TMR=0;
			items_rx=uart1pass;
			uart1pass=0;
		}

  /* USER CODE END SysTick_IRQn 0 */
  HAL_IncTick();
  /* USER CODE BEGIN SysTick_IRQn 1 */
	if(wf._estado_conexion==4)//if((wf._estado_conexion!=1)&&(wf._estado_conexion!=2)&&(resultado!=20)&&(resultado!=24)) //Solo cuento cuando no estahaciendo otra cosa
	{
		ticks++;
	}
	else
	{
		ticks=0;
	}

if(wf._ejecucion==1)
	{
		if (FLAG_TIMEOUT!=1)
		{
			if(wf._instruccion!=2) wf._ticks++;//-----------------------Solo cuento una vez reconcido el timeout, cuando entro al timeout no cuento
			if(wf._instruccion==2) wf._ticks2++;
		}

		if ((wf._instruccion!=2)&&(wf._ticks > 5500)) //if (wf._ticks > 5000)
		{
			FLAG_TIMEOUT=1;
			if(huart2.Instance->CR1 == 0x200C)  //--------------------Evito error UART colgado
			{
				HAL_UART_Receive_IT(&huart2,(uint8_t *)UART_RX_byte,1);
				EN_UART2_TMR=0; //OBS-VER Para que me vuelva a habilitar el timer
			}
			//wf._ticks=0;
		}
		if ((wf._instruccion==2)&&(wf._ticks2 > 20500)) //if (wf._ticks > 5000)
		{
			FLAG_TIMEOUT=1;
			if(huart2.Instance->CR1 == 0x200C)  //--------------------Evito error UART colgado
			{
				HAL_UART_Receive_IT(&huart2,(uint8_t *)UART_RX_byte,1);
				EN_UART2_TMR=0; //OBS-VER Para que me vuelva a habilitar el timer
			}
			//wf._ticks=0;
		}

	}
	else
	{
		wf._ticks=0;
	}
  /* USER CODE END SysTick_IRQn 1 */
}
void HAL_USART_ErrorCallback(UART_HandleTypeDef *huart2)
{
	 volatile int aore=0;
	 volatile int bore=0;

	// if ( UART_FLAG_ORE == HAL_UART_GetError(huart1))
	//{
	//Al leer los registros de esta forma SR y luego DR se resetean los errores de Framing Noise y Overrun FE NE ORE
	//}
	 	 wf._debug_count9++;
		aore=huart2->Instance->SR;
		bore=huart2->Instance->DR;

	//HAL_UART_Transmit_IT(&huart2,"U4",strlen("U4"));
	 HAL_UART_DeInit(huart2);
	 MX_USART2_UART_Init();
	 HAL_UART_Receive_IT(huart2,(uint8_t *)UART_RX_byte,1);

}

void HAL_TIM_ErrorCallback(TIM_HandleTypeDef *htim2)
{

		wf._debug_count10++;

}

void HAL_UART_RxCpltCallback(UART_HandleTypeDef *INTSERIE)
{

	if(INTSERIE->Instance==USART1)
	 {
		EN_UART1_TMR=1;									//Habilito Timeout de software
		UART1_ticks=0;										//Reseteo Timer
		datarx_uart1[uart1pass]=datarx1[0];
		uart1pass++;
		if(uart1pass>=384) uart1pass=384;									//limito el vector para evitar que cuelgue el micro
		HAL_UART_Receive_IT(INTSERIE,(uint8_t *)datarx1,1);
	 }

	if(INTSERIE->Instance==USART2)
		 {
			UART_RX_vect[UART_RX_pos]=UART_RX_byte[0];
			UART_RX_pos++;
			if(UART_RX_pos>=384) UART_RX_pos=384;
			HAL_TIM_OC_Start_IT(&htim2, TIM_CHANNEL_1);//HAL_TIM_Base_Start_IT(&htim7);	//Habilito el timer
			TIM2->CNT=1;
			EN_UART2_TMR=1;	//Habilito Timeout de software
			HAL_UART_Receive_IT(INTSERIE,(uint8_t *)UART_RX_byte,1);
		 }

 }

void HAL_TIM_OC_DelayElapsedCallback(TIM_HandleTypeDef *htim2)
	{
		 HAL_TIM_OC_Stop_IT(htim2, TIM_CHANNEL_1); //Paro el timer
		 FLAG_UART2=1;
		 EN_UART2_TMR=0;
		 UART_RX_items=UART_RX_pos;
		 UART_RX_pos=0;
		 UART_RX_vect[384]='\0'; //Finalizo el vector a la fuerza ya que recibo hasta 124
		 CopiaVector(UART_RX_vect_hld,UART_RX_vect,UART_RX_items,1,CMP_VECT);
		 HAL_UART_Receive_IT(&huart2,(uint8_t *)UART_RX_byte,1); //Habilito le recepcón de puerto serie al terminar

		 if (ITM_AT_debug==1)
		 {
			 ITM0_Write((uint8_t *)UART_RX_vect_hld, UART_RX_items);
		 }
		 if (AT_PROC_ON==0)
		 {
		 HAL_UART_Transmit_IT(&huart1,(uint8_t *)UART_RX_vect_hld, UART_RX_items);
		 }
}

void ESP8266_HW_Reset(void)
{
	  ESP_REinit=0;
	  PIN_RESET_ON;
	  HAL_Delay(2000);											//Tiempo de reset del módulo
	  PIN_RESET_OFF;		//Habilito módulo
}

void ESP8266_Restart(void)
{
		PIN_RESET_ON;
		HAL_Delay(2000);//210419
		PIN_RESET_OFF;
		HAL_Delay(5000);//210419
		esp_restart=0;
}
void ITM0_Write(char *text, int length)
{
	for(int i=0; i<length; i++)
	{
		//ITM_Port32(_nport)=*text++;
		ITM_SendChar(*text++);
	}
}

uint8_t ESP8266_HW_Init(UART_HandleTypeDef *SerialPort) //Devuelve 1 si reinició OK, y 0 si no
{
		ITM0_Write(" ESP Restart\r", strlen(" ESP Restart\r"));
	  do{
		  HAL_UART_Transmit(SerialPort, "AT+RESTORE\r\n",strlen("AT+RESTORE\r\n"),100);
		  HAL_Delay(500);

		  wf._n_fcomp=strlen("ready");//wf._n_fcomp=strlen("Ai-Thinker Technology Co.,Ltd.");
		  wf._n_orig=UART_RX_items;

		  while(FT_String_ND(UART_RX_vect_hld,&wf._n_orig,"ready",&wf._n_fcomp,wf._uartRCVD_tok,&wf._n_tok,&ntestc,&wf._id_conn,FIND)!=1)//while(FT_String_ND(UART_RX_vect_hld,&wf._n_orig,"Ai-Thinker Technology Co.,Ltd.",&wf._n_fcomp,wf._uartRCVD_tok,&wf._n_tok,&ntestc,&wf._id_conn,FIND)!=1)
		  {
			  	  wf._n_orig=UART_RX_items;
			  	  if (ESP_ticks>=5000)
			  		 {
			  		 ESP_InitF=1;
			  		 break;
			  		 }

		  }

		  if(ESP_InitF==0)	//Si encontró la sentencia anterior analizo la siguiente
		  {
			  wf._n_fcomp=strlen("ready");
			  wf._n_orig=UART_RX_items;
			  while(FT_String_ND(UART_RX_vect_hld,&wf._n_orig,"ready",&wf._n_fcomp,wf._uartRCVD_tok,&wf._n_tok,&ntestc,&wf._id_conn,FIND)!=1)
			  {
				  wf._n_orig=UART_RX_items;
				  if (ESP_ticks>=5000)
					 {
					 break;
					 }
			  }
		  }

		  if (ESP_ticks<5000)
		  {
			  ESP_REinit=10;
			  ESP_ticks=0;
		  }
		  else
		  {
			  ESP_REinit++;
			  ITM0_Write(" ESP Reinit\r", strlen(" ESP Reinit\r"));
			  ESP_ticks=0;
		  }

	  } while (ESP_REinit<=5);

	  if(ESP_REinit==10)
	  {
		  return(1);
	  }
	  else
	  {
		  return(0);
	  }
}
void BorrarVect(void)
{
	wf._uartRCVD[0]='\0';
	wf._uartRCVD[1]='\0';
	wf._n_orig=2;
}
/* USER CODE END 4 */

void Error_Handler(void)
{
  __disable_irq();
  while (1)
  {
  }
}
